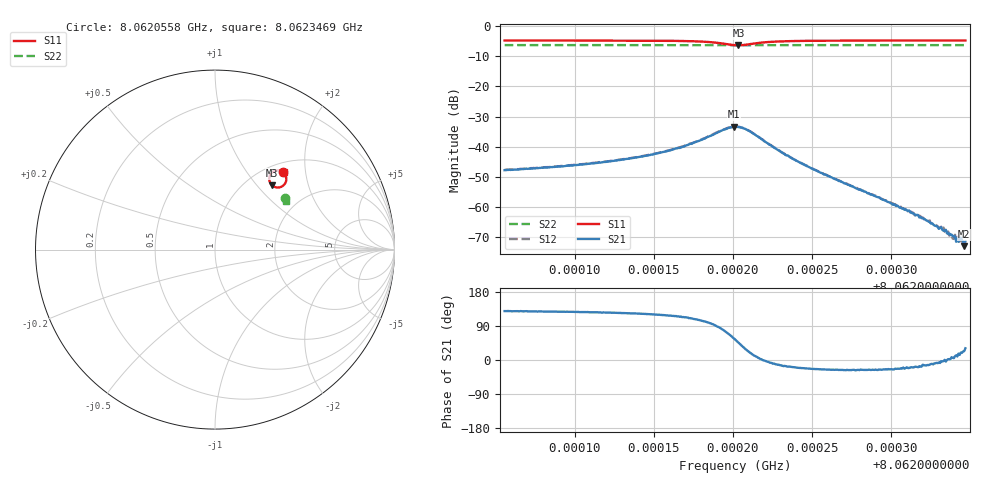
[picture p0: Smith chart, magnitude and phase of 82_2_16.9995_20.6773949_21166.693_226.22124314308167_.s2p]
#  HZ  S  RI  R  50.00
! Rohde & Schwarz Vector Network Analyzer
! Rohde-Schwarz,ZNB20-2Port,1311601062101988,3.16
! Created: UTC 3/20/2024, 10:55:46 PM
! freq[Hz]  re:S11  im:S11  re:S21  im:S21  re:S12  im:S12  re:S22  im:S22
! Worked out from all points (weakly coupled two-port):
!   401 points, 8.0620558 GHz to 8.0623469 GHz, reference 50 ohm
!   highest |S21| = -33.37 dB at 8.0622006 GHz (marker M1); lowest = -72.9 dB at 8.0623461 GHz (marker M2)
!   lowest |S11| = -6.4 dB at 8.0622035 GHz (marker M3), VSWR 2.84, Z = 64.8 + j60.3 ohm
!   |S11| at or under -10 dB: nowhere
!   |S22| runs from -6.4 to -6.3 dB; largest |S21 - S12| = 0.0016
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8.06205582e9  0.3807 0.4316  -0.00258 0.00318  -0.00242 0.00336  0.3876 0.2868
8.06210457e9  0.3861 0.4255  -0.00301 0.00408  -0.00279 0.00433  0.3895 0.2843
8.06213514e9  0.3909 0.4187  -0.00352 0.00536  -0.00321 0.00562  0.3905 0.2826
8.06215333e9  0.3944 0.4113  -0.00388 0.00684  -0.0035 0.00717  0.3912 0.2813
8.06216788e9  0.3972 0.4004  -0.00388 0.00912  -0.00347 0.00946  0.3915 0.28
8.06218534e9  0.3924 0.3722  -0.00187 0.0148  -0.000948 0.0152  0.3913 0.2782
8.06219553e9  0.3633 0.348  0.00518 0.0189  0.00664 0.0188  0.3901 0.2773
8.06220062e9  0.3337 0.3488  0.0116 0.018  0.013 0.0173  0.3889 0.2773
8.06220135e9  0.3294 0.3506  0.0125 0.0173  0.0138 0.0166  0.3888 0.2775
8.06220353e9  0.3174 0.3588  0.0149 0.0152  0.016 0.0142  0.3885 0.278
8.06221008e9  0.3022 0.3952  0.0171 0.00686  0.0176 0.00553  0.3889 0.2796
8.06222027e9  0.3201 0.431  0.0121 -0.000413  0.0122 -0.0012  0.3903 0.2803
8.06223482e9  0.3449 0.4412  0.00683 -0.00216  0.00661 -0.00247  0.3921 0.2797
8.0622501e9  0.3585 0.4407  0.00397 -0.00174  0.0039 -0.00197  0.393 0.2787
8.06229885e9  0.3749 0.4348  0.00109 -0.0005  0.0011 -0.000586  0.3953 0.2759
8.06231559e9  0.3779 0.433  0.000697 -0.000222  0.000683 -0.000274  0.3956 0.275
8.06233305e9  0.3801 0.4313  0.000407 -2.02e-05  0.000456 -3.98e-05  0.3963 0.2742
8.06233814e9  0.3809 0.4311  0.000348 4.59e-05  0.000343 1.63e-05  0.3966 0.2739
8.06234178e9  0.3813 0.4306  0.000308 5.08e-05  0.00032 4.66e-05  0.3965 0.2739
8.06234324e9  0.3814 0.4306  0.000272 6.52e-05  0.000266 2.51e-05  0.3966 0.2737
8.06234615e9  0.3818 0.4304  0.000207 9.03e-05  0.000263 8.89e-05  0.3967 0.2733
8.06234687e9  0.3816 0.4301  0.000235 0.00014  0.000222 5.93e-05  0.3967 0.2735
